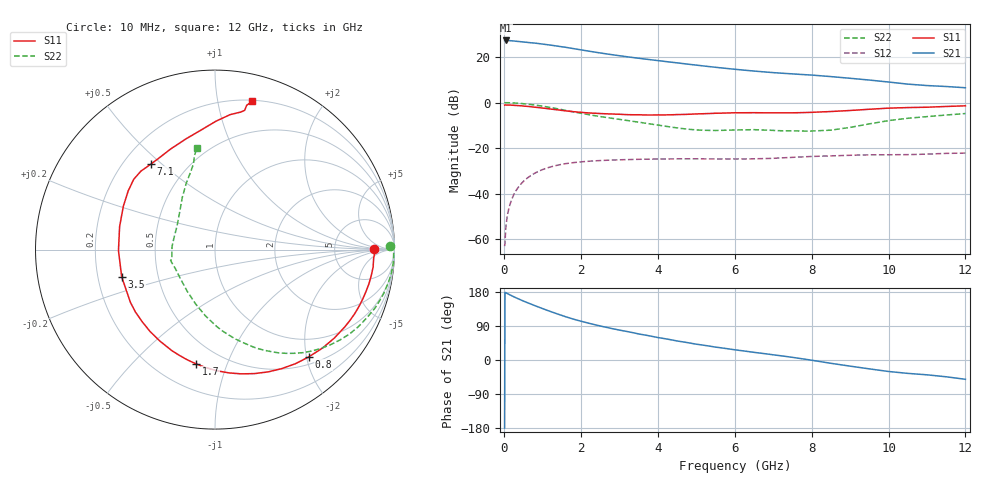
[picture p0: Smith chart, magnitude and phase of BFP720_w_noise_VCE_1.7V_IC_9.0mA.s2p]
! Infineon Technologies  Discrete & RF Semiconductors
! BFP720
! VCE =  1.7 V,  IC =  9.0 mA
! Common Emitter S-Parameters:  Aug 2012
# GHz  S  MA  R  50
!  f  S11  S21  S12  S22
! GHz  MAG  ANG  MAG  ANG  MAG  ANG  MAG  ANG
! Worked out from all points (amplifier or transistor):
!   105 points, 10 MHz to 12 GHz, reference 50 ohm
!   highest |S21| = 27.3 dB at 50 MHz (marker M1)
!   |S21| within 3 dB of that: start of sweep to 1.595 GHz
!   unconditionally stable (mu >= 1): start of sweep to 10.92 MHz; 5.751 GHz to 11.42 GHz
!   at 300 MHz: K = 0.07, MSG = 32.9 dB, |S12| = -38.9 dB
!   at 3.6 GHz: K = 0.66, MSG = 22.1 dB, |S12| = -24.9 dB
!   at 12 GHz: K = 0.85, MSG = 14.4 dB, |S12| = -22.2 dB
!   lowest NFmin = 0.50 dB at 450 MHz
!   S11 on the Smith chart (normalised r, x): 10 MHz: 16, +0; 800 MHz: 0.63, -2.04; 1.7 GHz: 0.36, -0.78; 3.5 GHz: 0.30, -0.13; 7.1 GHz: 0.31, +0.46; 12 GHz: 0.21, +1.26
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0.01  0.8835 0.2  22.97 -179.8  0.0007 -26.3  0.9765 1.3
0.02  0.8899 -1.2  23 178.5  0.0008 81.6  0.9956 -0.6
0.05  0.8853 -3.0  23.26 177.0  0.0021 97.5  0.9957 -1.9
0.25  0.8731 -15.5  22.64 166.8  0.0096 81.7  0.9841 -10.5
0.45  0.8492 -27.6  21.74 157.7  0.0168 74.3  0.9556 -18.5
0.8  0.7937 -48.9  20.34 143.3  0.0283 62.9  0.8856 -32.0
1  0.7603 -60.7  19.36 135.6  0.0338 56.8  0.8357 -39.2
1.2  0.7251 -72.3  18.39 128.1  0.0385 51.1  0.7832 -46.1
1.4  0.6915 -83.5  17.38 121.0  0.0424 45.9  0.7291 -52.4
1.7  0.6452 -99.5  15.92 111.0  0.0468 39.1  0.6506 -61.0
2.1  0.6019 -117.1  13.98 99.7  0.0507 31.8  0.5633 -70.6
2.4  0.5822 -128.5  12.72 92.0  0.0528 27.2  0.5102 -77.2
2.8  0.5633 -142.0  11.33 83.0  0.0547 22.4  0.4533 -85.0
3.5  0.5416 -163.8  9.453 68.7  0.0568 15.8  0.3722 -98.4
4.1  0.537 177.7  8.199 57.6  0.0578 11.5  0.3117 -112.1
5  0.565 154.7  6.673 41.7  0.0582 6.2  0.2515 -140.1
6.1  0.5989 137.9  5.315 25.6  0.0579 3.1  0.2517 -163.4
7.1  0.5956 126.8  4.507 12.4  0.0603 3.0  0.243 -170.8
8.5  0.6378 104.7  3.736 -8.7  0.0675 -2.1  0.2484 148.5
9.5  0.7153 89.6  3.136 -23.4  0.0713 -7.2  0.3411 122.4
10.5  0.7789 79.5  2.553 -35.3  0.0719 -11.4  0.4533 107.4
12  0.8511 75.9  2.124 -50.9  0.0777 -18.2  0.5753 100.1
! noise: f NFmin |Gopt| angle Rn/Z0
0.45  0.5  0.31  1  0.2
1.8  0.56  0.29  20  0.12
2.4  0.62  0.24  42  0.27
5.5  0.76  0.12  33  0.15
10  0.95  0.4  -81  0.22
